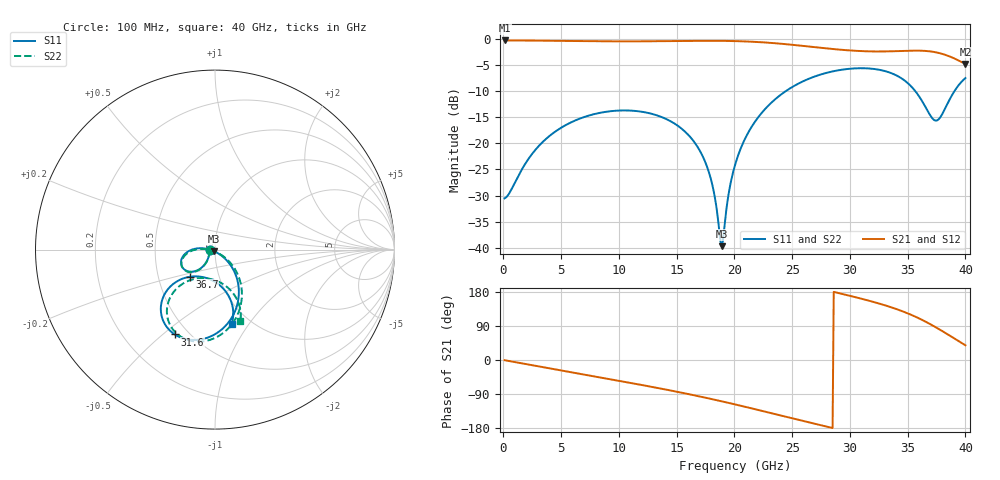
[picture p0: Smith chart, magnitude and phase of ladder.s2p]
! C_s8_ap600: via ladder as kisi uses it (kisi_si::via_pbm, graded grid, junction model), ports at the via
# Hz S RI R 50
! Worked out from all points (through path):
!   400 points, 100 MHz to 40 GHz, reference 50 ohm
!   highest |S21| = -0.26 dB at 100 MHz (marker M1); lowest = -4.8 dB at 40 GHz (marker M2)
!   group delay of S21, straight-line fit = 20.1 ps
!   lowest |S11| = -39.7 dB at 18.9 GHz (marker M3), VSWR 1.02, Z = 49.6 - j0.944 ohm
!   |S11| at or under -10 dB: start of sweep to 24.43 GHz; 35.67 GHz to 39.05 GHz (3.378 GHz wide, 9.04 % of centre)
!   |S22| runs from -39.7 to -5.6 dB; largest |S21 - S12| = 0
!   S11 on the Smith chart (normalised r, x): 100 MHz: 0.94, -0.01; 31.6 GHz: 0.42, -0.55; 36.7 GHz: 0.72, -0.23; 40 GHz: 0.83, -0.83
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1e8  -0.0296 -0.00275  0.9704 -0.00942  0.9704 -0.00942  -0.0296 -0.00276
3.2e9  -0.0558 -0.0806  0.9205 -0.2945  0.9205 -0.2945  -0.055 -0.0811
6.8e9  -0.1259 -0.1229  0.7595 -0.582  0.7595 -0.582  -0.1234 -0.1254
1.02e10  -0.1817 -0.0988  0.5315 -0.789  0.5315 -0.789  -0.1787 -0.1042
1.34e10  -0.1797 -0.0391  0.2613 -0.9179  0.2613 -0.9179  -0.178 -0.0462
1.56e10  -0.1333 -0.00208  0.0445 -0.9588  0.0445 -0.9588  -0.1331 -0.0082
1.72e10  -0.077 0.00776  -0.1267 -0.9545  -0.1267 -0.9545  -0.0773 0.00383
1.81e10  -0.0393 0.00279  -0.2257 -0.9362  -0.2257 -0.9362  -0.0394 0.000654
1.89e10  -0.00404 -0.00951  -0.3136 -0.9093  -0.3136 -0.9093  -0.00353 -0.00977
1.95e10  0.0224 -0.024  -0.3785 -0.882  -0.3785 -0.882  0.0237 -0.0228
2.01e10  0.048 -0.0433  -0.4416 -0.8485  -0.4416 -0.8485  0.0504 -0.0405
2.11e10  0.086 -0.0856  -0.5405 -0.7793  -0.5405 -0.7793  0.0911 -0.0802
2.26e10  0.1245 -0.1694  -0.6666 -0.6471  -0.6666 -0.6471  0.1354 -0.1608
2.67e10  0.0601 -0.4233  -0.819 -0.1988  -0.819 -0.1988  0.0929 -0.4174
2.92e10  -0.0794 -0.5005  -0.7882 0.0642  -0.7882 0.0642  -0.0364 -0.5054
3.16e10  -0.2241 -0.4728  -0.7019 0.2993  -0.7019 0.2993  -0.1795 -0.4915
3.34e10  -0.2952 -0.3782  -0.5916 0.4816  -0.5916 0.4816  -0.2569 -0.4052
3.52e10  -0.2738 -0.2364  -0.3941 0.6662  -0.3941 0.6662  -0.248 -0.2633
3.67e10  -0.1419 -0.1517  -0.1176 0.7585  -0.1176 0.7585  -0.1248 -0.1661
3.77e10  -0.0176 -0.1701  0.1059 0.7286  0.1059 0.7286  0.00118 -0.1711
3.89e10  0.0881 -0.2843  0.3351 0.5719  0.3351 0.5719  0.1198 -0.2725
4e10  0.0929 -0.4125  0.4494 0.3609  0.4494 0.3609  0.1403 -0.399
